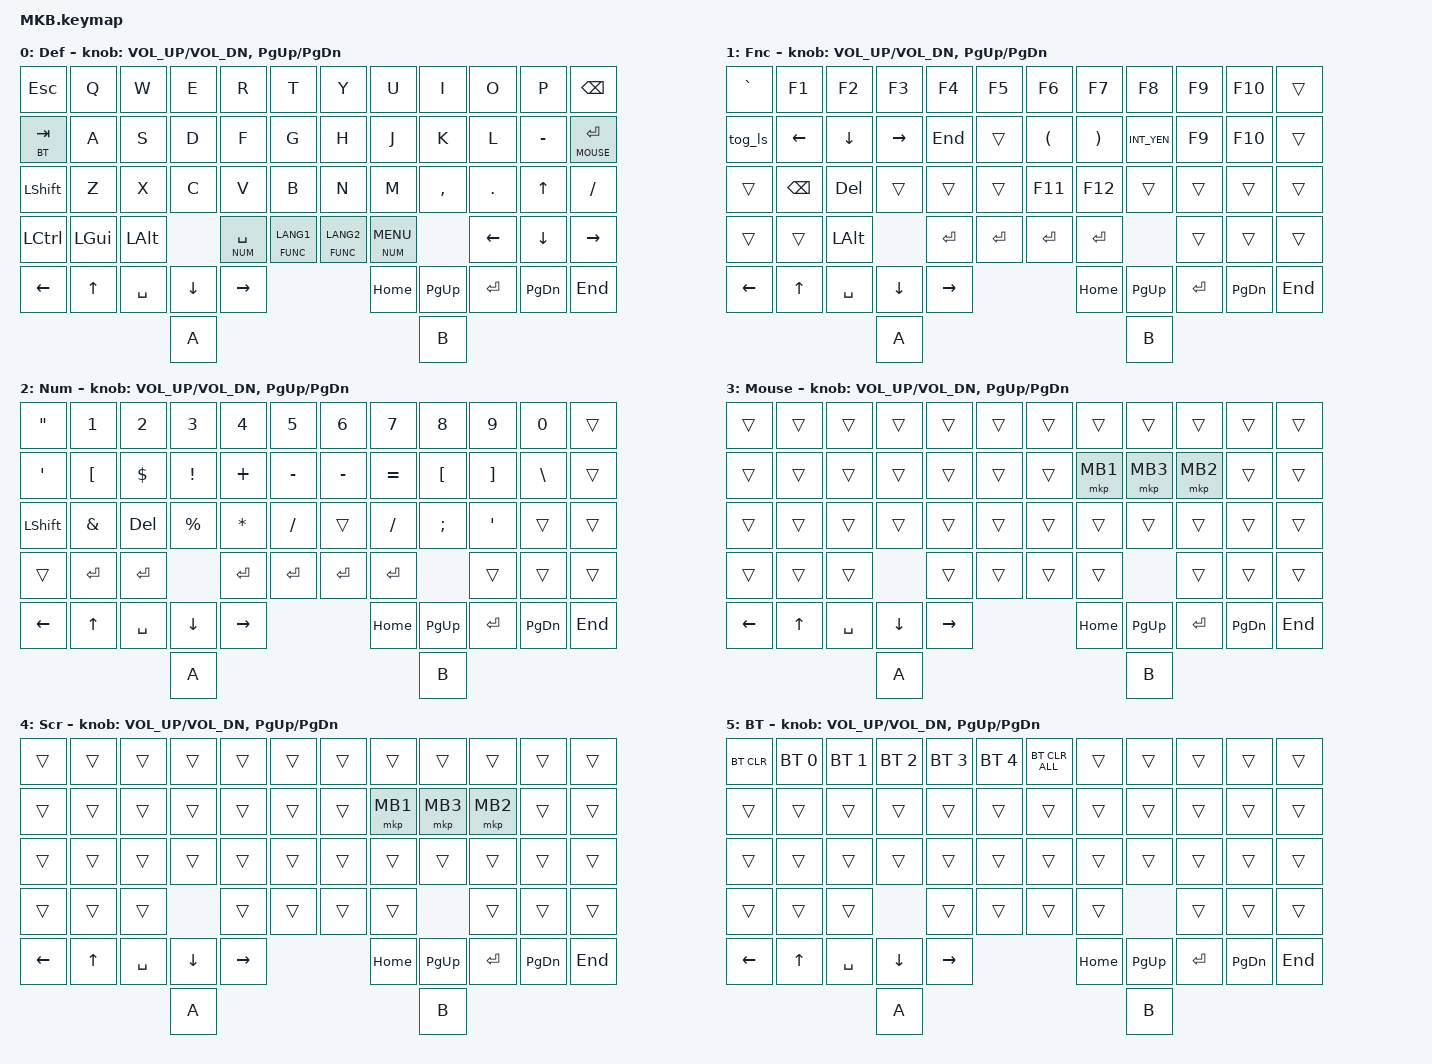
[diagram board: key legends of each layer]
// #include <layout_shift.dtsi>

#include <layout_shift_kp_override.dtsi>
#include <behaviors.dtsi>
#include <dt-bindings/zmk/bt.h>
#include <dt-bindings/zmk/keys.h>
#include <dt-bindings/zmk/pointing.h>

#define DEF 0
#define FUNC 1
#define NUM 2
#define MOUSE 3
#define SCROLL 4
#define BT 5

&mt {
    flavor = "balanced";
    tapping-term-ms = <280>;
    quick-tap-ms = <175>;
    require-prior-idle-ms = <150>;
};

/ {
    keymap {
        compatible = "zmk,keymap";

        default_layer {
            label = "Def";
            bindings = <
&kp ESCAPE        &kp Q     &kp W      &kp E     &kp R          &kp T               &kp Y           &kp U           &kp I      &kp O      &kp P      &kp BACKSPACE
&lt BT TAB        &kp A     &kp S      &kp D     &kp F          &kp G               &kp H           &kp J           &kp K      &kp L      &kp MINUS  &lt MOUSE ENTER
&kp LSHFT         &kp Z     &kp X      &kp C     &kp V          &kp B               &kp N           &kp M           &kp COMMA  &kp DOT    &kp UP     &kp FSLH
&kp LEFT_CONTROL  &kp LGUI  &kp LALT             &lt NUM SPACE  &lt FUNC LANG1      &lt FUNC LANG2  &lt NUM K_MENU             &kp LEFT   &kp DOWN   &kp RIGHT
&kp LEFT          &kp UP    &kp SPACE  &kp DOWN  &kp RIGHT                                          &kp HOME        &kp PG_UP  &kp ENTER  &kp PG_DN  &kp END
                                       &kp A                                                                        &kp B
            >;

            sensor-bindings = <&inc_dec_kp C_VOL_UP C_VOL_DN &inc_dec_kp PG_UP PG_DN>;
        };

        function_layer {
            label = "Fnc";
            bindings = <
&kp GRAVE  &kp F1    &kp F2     &kp F3     &kp F4     &kp F5         &kp F6                &kp F7                 &kp F8       &kp F9     &kp F10    &trans
&tog_ls    &kp LEFT  &kp DOWN   &kp RIGHT  &kp END    &trans         &kp LEFT_PARENTHESIS  &kp RIGHT_PARENTHESIS  &kp INT_YEN  &kp F9     &kp F10    &trans
&trans     &kp BKSP  &kp DEL    &trans     &trans     &trans         &kp F11               &kp F12                &trans       &trans     &trans     &trans
&trans     &trans    &kp LALT              &kp ENTER  &kp ENTER      &kp ENTER             &kp ENTER                           &trans     &trans     &trans
&kp LEFT   &kp UP    &kp SPACE  &kp DOWN   &kp RIGHT                                       &kp HOME               &kp PG_UP    &kp ENTER  &kp PG_DN  &kp END
                                &kp A                                                                             &kp B
            >;

            sensor-bindings = <&inc_dec_kp C_VOL_UP C_VOL_DN &inc_dec_kp PG_UP PG_DN>;
        };

        num_layer {
            label = "Num";
            bindings = <
&kp DOUBLE_QUOTES  &kp N1            &kp N2      &kp N3       &kp N4        &kp N5         &kp N6     &kp N7     &kp N8     &kp N9     &kp N0     &trans
&kp SINGLE_QUOTE   &kp LEFT_BRACKET  &kp DOLLAR  &kp EXCL     &kp PLUS      &kp MINUS      &kp MINUS  &kp EQUAL  &kp LBKT   &kp RBKT   &kp BSLH   &trans
&kp LSHFT          &kp AMPERSAND     &kp DEL     &kp PERCENT  &kp ASTERISK  &kp SLASH      &trans     &kp FSLH   &kp SEMI   &kp SQT    &trans     &trans
&trans             &kp ENTER         &kp ENTER                &kp ENTER     &kp ENTER      &kp ENTER  &kp ENTER             &trans     &trans     &trans
&kp LEFT           &kp UP            &kp SPACE   &kp DOWN     &kp RIGHT                               &kp HOME   &kp PG_UP  &kp ENTER  &kp PG_DN  &kp END
                                                 &kp A                                                           &kp B
            >;

            sensor-bindings = <&inc_dec_kp C_VOL_UP C_VOL_DN &inc_dec_kp PG_UP PG_DN>;
        };

        mouse_layer {
            label = "Mouse";
            bindings = <
&trans    &trans  &trans     &trans    &trans     &trans      &trans  &trans    &trans     &trans     &trans     &trans
&trans    &trans  &trans     &trans    &trans     &trans      &trans  &mkp MB1  &mkp MB3   &mkp MB2   &trans     &trans
&trans    &trans  &trans     &trans    &trans     &trans      &trans  &trans    &trans     &trans     &trans     &trans
&trans    &trans  &trans               &trans     &trans      &trans  &trans               &trans     &trans     &trans
&kp LEFT  &kp UP  &kp SPACE  &kp DOWN  &kp RIGHT                      &kp HOME  &kp PG_UP  &kp ENTER  &kp PG_DN  &kp END
                             &kp A                                              &kp B
            >;

            sensor-bindings = <&inc_dec_kp C_VOL_UP C_VOL_DN &inc_dec_kp PG_UP PG_DN>;
        };

        scroll_layer {
            label = "Scr";
            bindings = <
&trans    &trans  &trans     &trans    &trans     &trans      &trans  &trans    &trans     &trans     &trans     &trans
&trans    &trans  &trans     &trans    &trans     &trans      &trans  &mkp MB1  &mkp MB3   &mkp MB2   &trans     &trans
&trans    &trans  &trans     &trans    &trans     &trans      &trans  &trans    &trans     &trans     &trans     &trans
&trans    &trans  &trans               &trans     &trans      &trans  &trans               &trans     &trans     &trans
&kp LEFT  &kp UP  &kp SPACE  &kp DOWN  &kp RIGHT                      &kp HOME  &kp PG_UP  &kp ENTER  &kp PG_DN  &kp END
                             &kp A                                              &kp B
            >;

            sensor-bindings = <&inc_dec_kp C_VOL_UP C_VOL_DN &inc_dec_kp PG_UP PG_DN>;
        };

        bt_layer {
            label = "BT";
            bindings = <
&bt BT_CLR  &bt BT_SEL 0  &bt BT_SEL 1  &bt BT_SEL 2  &bt BT_SEL 3  &bt BT_SEL 4      &bt BT_CLR_ALL  &trans    &trans     &trans     &trans     &trans
&trans      &trans        &trans        &trans        &trans        &trans            &trans          &trans    &trans     &trans     &trans     &trans
&trans      &trans        &trans        &trans        &trans        &trans            &trans          &trans    &trans     &trans     &trans     &trans
&trans      &trans        &trans                      &trans        &trans            &trans          &trans               &trans     &trans     &trans
&kp LEFT    &kp UP        &kp SPACE     &kp DOWN      &kp RIGHT                                       &kp HOME  &kp PG_UP  &kp ENTER  &kp PG_DN  &kp END
                                        &kp A                                                                   &kp B
            >;

            sensor-bindings = <&inc_dec_kp C_VOL_UP C_VOL_DN &inc_dec_kp PG_UP PG_DN>;
        };
    };
};
